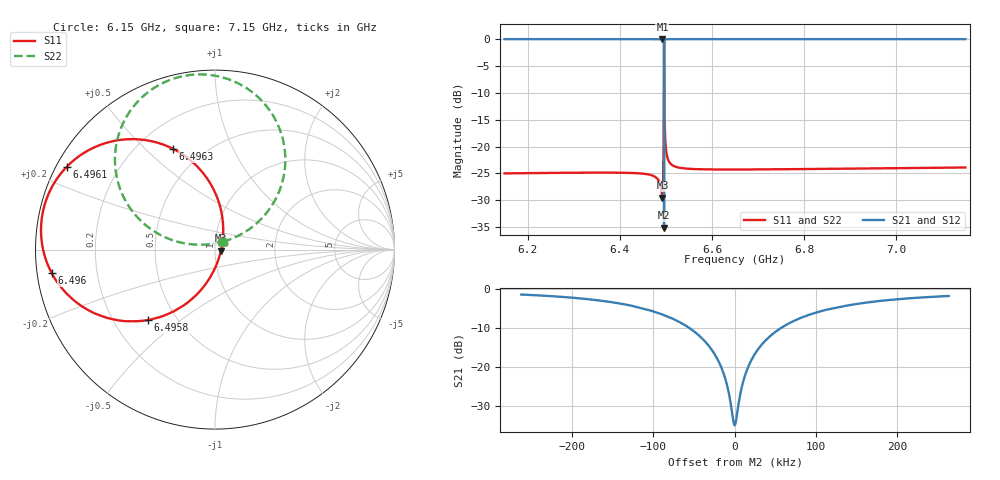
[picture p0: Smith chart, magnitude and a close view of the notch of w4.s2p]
! Sonnet Data File
! From: em Version : 14.52
! From Project: w4
! Data is De-embedded
! Data File Written: 07/15/2018 07:49:11
!< HDATE 07/13/2018 23:57:20
!< MDATE 07/15/2018 00:08:50
# GHZ S MA R 50.00000
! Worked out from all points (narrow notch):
!   932 points, 6.15 GHz to 7.15 GHz, reference 50 ohm
!   highest |S21| = -0.01 dB at 6.4926 GHz (marker M1); lowest = -35.1 dB at 6.4961 GHz (marker M2)
!   notch at M2: 34.8 dB deep, 43.9 kHz wide at half that depth
!   lowest |S11| = -29.5 dB at 6.4926 GHz (marker M3), VSWR 1.07, Z = 53.4 - j0.67 ohm
!   |S11| at or under -10 dB: start of sweep to 6.4956 GHz; 6.4966 GHz to end of sweep
!   |S22| runs from -29.5 to -0.1 dB; largest |S21 - S12| = 0
!   S11 on the Smith chart (normalised r, x): 6.15 GHz: 1.08, +0.09; 6.4958 GHz: 0.35, -0.38; 6.496 GHz: 0.04, -0.07; 6.4961 GHz: 0.03, +0.26; 6.4963 GHz: 0.34, +0.61; 7.15 GHz: 1.10, +0.09
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6.15  0.05638 47.4  0.9984 -41.7  0.9984 -41.7  0.05638 49.3
!< P1 F=6.15 Eeff=(5.67096757 -5.1692e-6) Z0=(55.5336863 2.53128e-5) R=0.00807017 C=0.00293549
!< P2 F=6.15 Eeff=(5.67096757 -5.1692e-6) Z0=(55.5336863 2.53128e-5) R=0.00807017 C=0.00293549
6.32  0.05725 45.9  0.9984 -42.8  0.9984 -42.8  0.05725 48.4
6.4834  0.04905 36.0  0.9988 -44.6  0.9988 -44.6  0.04905 54.7
6.4926  0.03353 -10.8  0.9994 -46.7  0.9994 -46.7  0.03361 97.4
6.4938  0.0412 -50.1  0.9991 -48.1  0.9991 -48.1  0.04135 133.7
6.4952  0.1456 -98.3  0.9887 -54.9  0.9887 -54.9  0.1459 167.9
6.49582  0.5398 -133.5  0.8344 -79.4  0.8344 -79.4  0.5406 153.1
6.495995  0.9188 -171.8  0.3511 -113.4  0.3511 -113.4  0.92 119.3
6.496035  0.9731 174.7  0.1318 -121.6  0.1318 -121.6  0.9743 106.7
6.496057  0.9818 167.0  0.01764 -48.4  0.01764 -48.4  0.983 99.5
6.496076  0.9758 160.3  0.1134 28.0  0.1134 28.0  0.977 93.3
6.496104  0.9465 150.9  0.2678 24.2  0.2678 24.2  0.9476 84.5
6.49617  0.8222 132.4  0.5482 8.5  0.5482 8.5  0.8231 67.5
6.496285  0.6077 112.6  0.7866 -9.4  0.7866 -9.4  0.6084 50.1
6.49652  0.3756 94.5  0.9246 -24.8  0.9246 -24.8  0.3759 36.5
6.497  0.2205 81.1  0.9748 -34.2  0.9748 -34.2  0.2206 30.7
6.4988  0.1134 66.1  0.9935 -40.6  0.9935 -40.6  0.1134 32.8
6.5076  0.07152 52.5  0.9974 -43.2  0.9974 -43.2  0.07153 41.0
6.65  0.06124 44.9  0.9981 -45.0  0.9981 -45.0  0.06125 45.2
6.82  0.06194 43.4  0.9981 -46.1  0.9981 -46.1  0.06196 44.3
6.985  0.06291 42.2  0.998 -47.3  0.998 -47.3  0.06293 43.3
7.15  0.06396 41.0  0.998 -48.4  0.998 -48.4  0.06396 42.2
